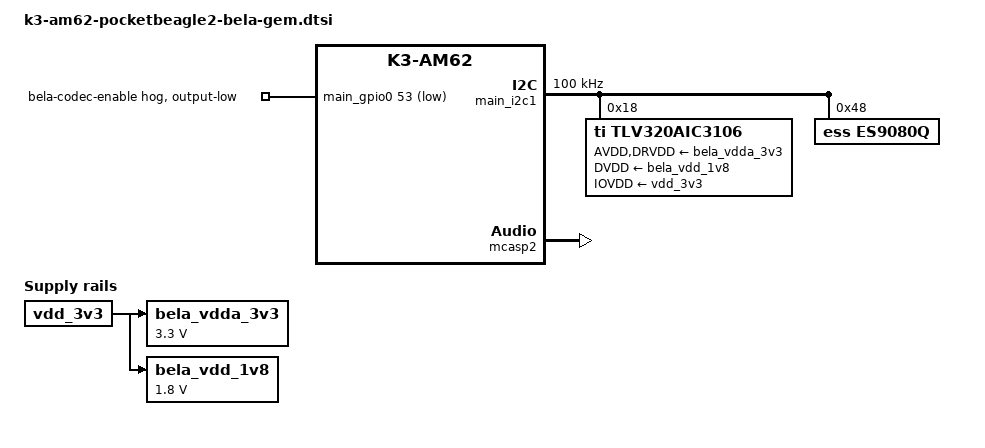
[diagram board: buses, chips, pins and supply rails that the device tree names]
// SPDX-License-Identifier: GPL-2.0-only
/*
 * Bela Gem audio for PocketBeagle2 (AM625)
 *
 * Wiring verified against Bela Gem Multi rev A4:
 *   P1.33 -> AUD_SDA
 *   P1.36 -> AUD_SCL
 *   P2.5  -> AUD_DOUT
 *   P2.7  -> AUD_DIN
 *   P2.10 -> AUD_WCLK
 *   P2.11 -> AUD_MCLK
 *   P2.18 -> ADC_RST#/ES9080 CHIP_EN (via bridged JP8)
 *   P2.19 -> AUD_BCLK
 *   P2.26 -> RESET#
 *
 * PocketBeagle2 expansion muxing maps these nets to:
 *   AUD_SDA/AUD_SCL -> main_i2c1
 *   AUD_DOUT        -> MCASP2_AXR0 (codec DOUT = SoC RX)
 *   AUD_DIN         -> MCASP2_AXR1 (codec DIN  = SoC TX)
 *   AUD_WCLK        -> MCASP2_AFSX
 *   AUD_BCLK        -> MCASP2_ACLKX
 *   AUD_MCLK        -> AUDIO_EXT_REFCLK1 (&audio_refclk1 in k3-am62-main.dtsi)
 *
 * Clock topology (confirmed by giuliomoro/Bela):
 *   McASP2 outputs MCLK via AUDIO_EXT_REFCLK1 (12.288 MHz) -> TLV320AIC3106
 *   Note: 24.576 MHz is NOT achievable from the 96 MHz PLL with integer division.
 *         12.288 MHz = 96 MHz / 8 is exact and standard (256 * 48 kHz).
 *   TLV320AIC3106 PLL derives BCLK (256 clocks/frame) and drives it back to McASP2 (P2.19)
 *   WCLK (P2.10) can be generated by either TLV320AIC3106 or McASP2
 *   McASP2 is therefore BCLK slave; codec is bitclock-master + frame-master
 *   BCLK and WCLK pins must be PIN_INPUT on the SoC side
 *
 * Power rails verified against GemMulti_rev_A4:
 *   TLV320AIC3106 IOVDD = +3V3
 *   TLV320AIC3106 DVDD  = +1V8 (on-board MIC5317 from +3V3)
 *   TLV320AIC3106 AVDD  = +3.3VA (filtered from +3V3)
 *   TLV320AIC3106 DRVDD = +3.3VA (filtered from +3V3)
 */
#include "k3-pinctrl.h"

&{/} {
	bela_vdda_3v3: regulator-bela-vdda-3v3 {
		compatible = "regulator-fixed";
		regulator-name = "bela_vdda_3v3";
		regulator-min-microvolt = <3300000>;
		regulator-max-microvolt = <3300000>;
		vin-supply = <&vdd_3v3>;
		regulator-always-on;
		regulator-boot-on;
	};

	bela_vdd_1v8: regulator-bela-vdd-1v8 {
		compatible = "regulator-fixed";
		regulator-name = "bela_vdd_1v8";
		regulator-min-microvolt = <1800000>;
		regulator-max-microvolt = <1800000>;
		vin-supply = <&vdd_3v3>;
		regulator-always-on;
		regulator-boot-on;
	};

	gem_simple_sound: sound {
		compatible = "simple-audio-card";
		simple-audio-card,name = "PocketBeagle2 Bela Gem Multi";
		simple-audio-card,widgets =
			"Headphone", "Headphone Jack",
			"Line", "Line Out",
			"Line", "Line In";
		simple-audio-card,routing =
			"Headphone Jack", "HPLOUT",
			"Headphone Jack", "HPROUT",
			"Line Out", "LLOUT",
			"Line Out", "RLOUT",
			"LINE1L", "Line In",
			"LINE1R", "Line In";
		simple-audio-card,format = "i2s";
		/*
		 * TLV320AIC3106 PLL generates BCLK and WCLK from MCLK and
		 * feeds them back to McASP2. The codec is therefore both the
		 * bitclock master and the frame (WCLK) master.
		 */
		simple-audio-card,bitclock-master = <&gem_codec_dai>;
		simple-audio-card,frame-master = <&gem_codec_dai>;

		simple-audio-card,cpu {
			sound-dai = <&mcasp2>;
			dai-tdm-slot-num = <2>;
			dai-tdm-slot-width = <32>;
		};

		gem_codec_dai: simple-audio-card,codec {
			sound-dai = <&tlv320aic3106>;
			/*
			 * MCLK sourced from AUDIO_EXT_REFCLK1 (12.288 MHz).
			 * 12.288 MHz = 96 MHz / 8 — exact integer division from
			 * the AM62x PLL. TLV320AIC3106 PLL uses this to generate
			 * BCLK (256 clocks/frame at 48 kHz = 12.288 MHz) and WCLK.
			 * system-clock-fixed prevents ASoC from renegotiating
			 * the clock rate at runtime.
			 */
			clocks = <&audio_refclk1>;
			system-clock-fixed;
			dai-tdm-slot-num = <2>;
			dai-tdm-slot-width = <32>;
		};
	};

	bela_sound: sound-tdm {
		compatible = "bela,audio-cape";
		model = "PocketBeagle2 Bela Gem";

		cpu-dai = <&mcasp2>;
		/* Legacy binding name; actual hardware is TLV320AIC3106. */
		aic3104-codec = <&tlv320aic3106>;
		es9080q-codec = <&es9080q>;

		clocks = <&audio_refclk1>;
		clock-names = "mclk";

		audio-routing =
			"Headphone Jack",   "HPLOUT",
			"Headphone Jack",   "HPROUT",
			"AIC3104 Line Out", "LLOUT",
			"AIC3104 Line Out", "RLOUT",
			"LINE1L",           "Line In",
			"LINE1R",           "Line In",
			"DAC Out 1",        "OUT1",
			"DAC Out 2",        "OUT2",
			"DAC Out 3",        "OUT3",
			"DAC Out 4",        "OUT4",
			"DAC Out 5",        "OUT5",
			"DAC Out 6",        "OUT6",
			"DAC Out 7",        "OUT7",
			"DAC Out 8",        "OUT8";

		status = "disabled";
	};
};

&main_pmx0 {
	bela_gem_i2c1_pins: bela-gem-i2c1-pins {
		pinctrl-single,pins = <
			AM62X_IOPAD(0x01e8, PIN_INPUT_PULLUP, 0) /* (B17) I2C1_SCL, P1.36 AUD_SCL */
			AM62X_IOPAD(0x01ec, PIN_INPUT_PULLUP, 0) /* (A17) I2C1_SDA, P1.33 AUD_SDA */
		>;
	};

	bela_gem_audio_pins: bela-gem-audio-pins {
		/*
		 * Bela Gem Multi routes audio clocking through the PB2 header:
		 *   P2.10 -> GEM_AUD_WCLK  (MCASP2_AFSX  - codec-driven, PIN_INPUT)
		 *   P2.19 -> GEM_AUD_BCLK  (MCASP2_ACLKX - codec-driven, PIN_INPUT)
		 * Keep those header-matched pads rather than substituting other
		 * AM62 pins that are not wired on the Gem hardware.
		 */
		pinctrl-single,pins = <
			AM62X_IOPAD(0x01d8, PIN_INPUT,  8) /* (C15) MCAN0_TX.MCASP2_AXR0,    P2.5  AUD_DOUT (codec->SoC, RX) */
			AM62X_IOPAD(0x01dc, PIN_OUTPUT, 8) /* (E15) MCAN0_RX.MCASP2_AXR1,    P2.7  AUD_DIN  (SoC->codec, TX) */
			AM62X_IOPAD(0x0174, PIN_INPUT,  2) /* (AD21) RGMII2_TD2.MCASP2_AFSX,  P2.10 AUD_WCLK (codec-driven) */
			AM62X_IOPAD(0x0178, PIN_INPUT,  2) /* (AC20) RGMII2_TD3.MCASP2_ACLKX, P2.19 AUD_BCLK (codec-driven) */
		>;
	};

	bela_gem_mclk_pins: bela-gem-mclk-pins {
		pinctrl-single,pins = <
			AM62X_IOPAD(0x01d4, PIN_OUTPUT, 5) /* (B15) UART0_RTSn.AUDIO_EXT_REFCLK1, P2.11 AUD_MCLK */
		>;
	};

	bela_gem_ctrl_pins: bela-gem-ctrl-pins {
		pinctrl-single,pins = <
			AM62X_IOPAD(0x00d8, PIN_OUTPUT, 7) /* (V21) VOUT0_DATA8.GPIO0_53, P2.18 ADC_RST#/ES9080 CHIP_EN */
		>;
	};

	/*
	 * I2C pullup compensation: PB2-to-Gem cape routing has marginal signal
	 * quality on I2C1. Enable internal pullups on neighbouring pads to
	 * boost SCL/SDA levels, matching the Bela OS overlay (PB2-BELA.dtso).
	 */
	bela_gem_i2c1_pullup_sda: bela-gem-i2c1-pullup-sda-pins {
		pinctrl-single,pins = <
			AM62X_IOPAD(0x00e4, PIN_INPUT_PULLUP, 7) /* (AA23) VOUT0_DATA11.GPIO0_56, pullup for SDA */
		>;
	};

	bela_gem_i2c1_pullup_scl: bela-gem-i2c1-pullup-scl-pins {
		pinctrl-single,pins = <
			AM62X_IOPAD(0x00e0, PIN_INPUT_PULLUP, 7) /* (V20) VOUT0_DATA10.GPIO0_55, pullup for SCL */
		>;
	};
};

&audio_refclk1 {
	/*
	 * audio_refclk1 is defined in k3-am62-main.dtsi at clock-controller@82e4.
	 * This overlay sets the rate and claims the MCLK output pin.
	 *
	 * AUDIO_EXT_REFCLK1 parent is a 96 MHz PLL with integer divider.
	 * 24.576 MHz is NOT achievable exactly (96/3.906...).
	 * 12.288 MHz = 96 MHz / 8 is exact and standard (256 * 48 kHz).
	 * TLV320AIC3106 PLL derives BCLK = 256 * Fs from this MCLK.
	 */
	assigned-clock-rates = <12288000>;
	pinctrl-names = "default";
	pinctrl-0 = <&bela_gem_mclk_pins>;
};

&main_gpio0 {
	pinctrl-names = "default";
	pinctrl-0 = <&bela_gem_ctrl_pins>;

	bela_codec_enable {
		/*
		 * Gem Multi rev A4 ties P2.18 ADC_RST# to ES9080 CHIP_EN through
		 * JP8. ADC_RST# is active-low, so the physical pin must be driven
		 * high to release reset and enable the shared control line.
		 *
		 * Use ACTIVE_LOW + output-low so gpiolib inverts the logical low
		 * into a raw high level on GPIO0_53 at boot. JP8 must be bridged
		 * for this to reach the ES9080Q CHIP_EN pin.
		 */
		gpio-hog;
		gpios = <53 GPIO_ACTIVE_LOW>;
		output-low;
		line-name = "bela-codec-enable";
	};
};

&main_i2c1 {
	#address-cells = <1>;
	#size-cells = <0>;
	status = "okay";
	clock-frequency = <100000>;
	pinctrl-names = "default";
	pinctrl-0 = <&bela_gem_i2c1_pins>, <&bela_gem_i2c1_pullup_sda>, <&bela_gem_i2c1_pullup_scl>;

	tlv320aic3106: codec@18 {
		compatible = "ti,tlv320aic3106";
		reg = <0x18>;
		#sound-dai-cells = <0>;
		clocks = <&audio_refclk1>;
		AVDD-supply = <&bela_vdda_3v3>;
		DVDD-supply = <&bela_vdd_1v8>;
		DRVDD-supply = <&bela_vdda_3v3>;
		IOVDD-supply = <&vdd_3v3>;
	};

	es9080q: dac@48 {
		compatible = "ess,es9080q";
		reg = <0x48>;
		#sound-dai-cells = <0>;
		ess,write-only-addr = <0x4c>;
		clocks = <&audio_refclk1>;
		clock-names = "mclk";
	};
};

&mcasp2 {
	#sound-dai-cells = <0>;
	pinctrl-names = "default";
	pinctrl-0 = <&bela_gem_audio_pins>;
	status = "okay";

	op-mode = <0>;          /* DAVINCI_MCASP_IIS_MODE */
	/*
	 * Keep tdm-slots = <16> so the McASP controller remains TDM-capable
	 * for the final Bela card. simple-audio-card constrains the active
	 * DAI link to 2 slots via dai-tdm-slot-num in the cpu/codec subnodes.
	 *
	 * McASP2 is BCLK and WCLK slave: ACLKX and AFSX are inputs driven
	 * by the TLV320AIC3106 PLL output. Do not set any internal clock
	 * source or clk-active-high here.
	 */
	tdm-slots = <16>;
	serial-dir = <          /* 0: INACTIVE, 1: TX, 2: RX */
		2 1 0 0             /* AXR0=RX (codec DOUT->SoC), AXR1=TX (SoC->codec DIN) */
		0 0 0 0
		0 0 0 0
		0 0 0 0
	>;
	tx-num-evt = <32>;
	rx-num-evt = <32>;
};
